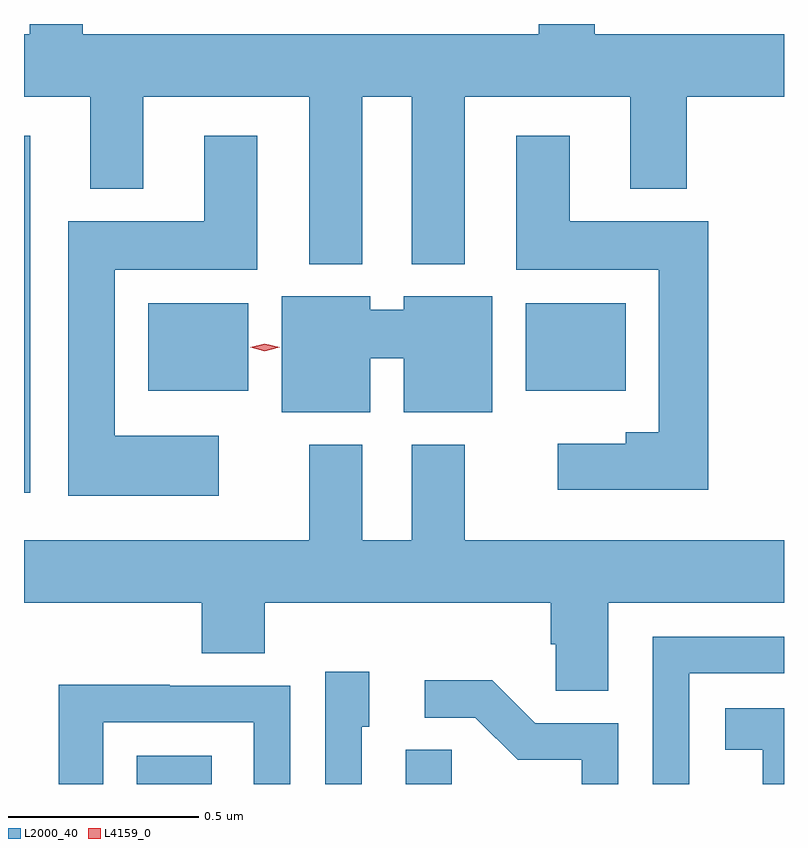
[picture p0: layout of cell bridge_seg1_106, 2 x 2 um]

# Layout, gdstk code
import gdstk
lib = gdstk.Library(unit=1e-6, precision=1e-09)
def R(c, l, rs):  # rectangles x0, y0, x1, y1
    for r in rs: c.add(gdstk.rectangle(r[:2], r[2:], *l))
def P(c, l, *ps):  # polygons
    for p in ps: c.add(gdstk.Polygon(p, *l))
L2000_40 = (2000, 40)
L4159_0 = (4159, 0)

bridge_seg1_106 = lib.new_cell('bridge_seg1_106')
R(bridge_seg1_106, L2000_40, [(135.794,509.963,135.991,510.037), (136.502,509.963,136.623,510.053), (135.497,510.729,135.514,511.669), (135.824,510.998,136.087,511.228), (136.817,510.998,137.08,511.228)])
P(bridge_seg1_106, L2000_40, [(136.387,511.772),(136.517,511.772),(136.517,511.331),(136.657,511.331),(136.657,511.772),(137.093,511.772),(137.093,511.529),(137.241,511.529),(137.241,511.772),(137.497,511.772),(137.497,511.936),(136.999,511.936),(136.999,511.963),(136.852,511.963),(136.852,511.936),(135.651,511.936),(135.651,511.963),(135.512,511.963),(135.512,511.936),(135.497,511.936),(135.497,511.772),(135.671,511.772),(135.671,511.529),(135.811,511.529),(135.811,511.772),(136.247,511.772),(136.247,511.331),(136.387,511.331)],
  [(136.009,510.88),(135.736,510.88),(135.736,511.316),(136.111,511.316),(136.111,511.669),(135.971,511.669),(135.971,511.444),(135.614,511.444),(135.614,510.722),(136.009,510.722)],
  [(137.298,511.444),(136.933,511.444),(136.933,511.669),(136.793,511.669),(136.793,511.316),(137.168,511.316),(137.168,510.889),(137.081,510.889),(137.081,510.859),(136.902,510.859),(136.902,510.737),(137.298,510.737)],
  [(136.408,511.083),(136.496,511.083),(136.496,510.941),(136.729,510.941),(136.729,511.246),(136.496,511.246),(136.496,511.211),(136.408,511.211),(136.408,511.246),(136.175,511.246),(136.175,510.941),(136.408,510.941)],
  [(137.035,510.44),(137.497,510.44),(137.497,510.604),(136.657,510.604),(136.657,510.856),(136.517,510.856),(136.517,510.604),(136.387,510.604),(136.387,510.856),(136.247,510.856),(136.247,510.604),(135.497,510.604),(135.497,510.44),(135.965,510.44),(135.965,510.307),(136.13,510.307),(136.13,510.44),(136.883,510.44),(136.883,510.331),(136.896,510.331),(136.896,510.208),(137.035,510.208)],
  [(137.247,510.255),(137.497,510.255),(137.497,510.351),(137.151,510.351),(137.151,509.963),(137.247,509.963)],
  [(136.386,510.114),(136.405,510.114),(136.405,510.259),(136.29,510.259),(136.29,509.963),(136.386,509.963)],
  [(137.061,510.123),(136.842,510.123),(136.729,510.236),(136.551,510.236),(136.551,510.138),(136.685,510.138),(136.796,510.027),(136.965,510.027),(136.965,509.963),(137.061,509.963)],
  [(135.705,510.126),(136.101,510.126),(136.101,509.963),(136.197,509.963),(136.197,510.222),(135.881,510.222),(135.881,510.224),(135.589,510.224),(135.589,509.963),(135.705,509.963)],
  [(137.497,510.163),(137.343,510.163),(137.343,510.053),(137.441,510.053),(137.441,509.963),(137.497,509.963)])
P(bridge_seg1_106, L4159_0, [(136.131,511.102),(136.092,511.112),(136.091,511.112),(136.092,511.112),(136.131,511.122),(136.17,511.112),(136.17,511.112),(136.17,511.112)])

lib.write_gds('bridge_seg1_106.gds')
